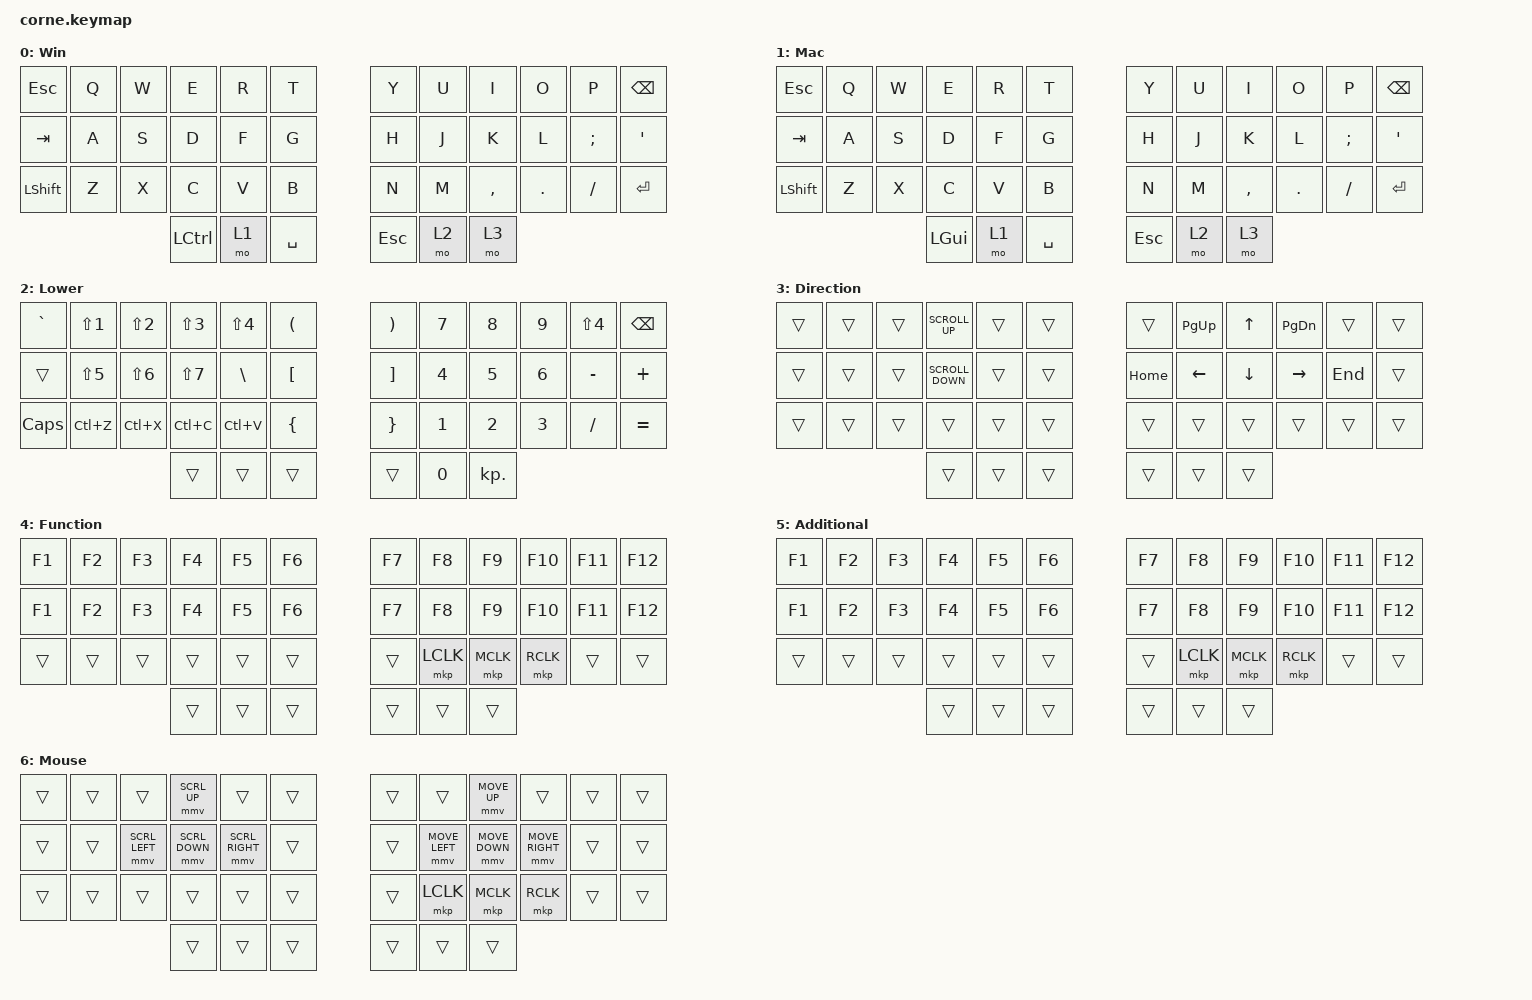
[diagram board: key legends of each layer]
/*
 * Copyright (c) 2020 The ZMK Contributors
 *
 * SPDX-License-Identifier: MIT
 */

#include <behaviors.dtsi>
#include <dt-bindings/zmk/keys.h>
#include <dt-bindings/zmk/bt.h>
#include <dt-bindings/zmk/mouse.h>


/ {
        keymap {
                compatible = "zmk,keymap";

                default_layer {
                        display-name = "Win";
                        bindings = <
   &kp ESC   &kp Q &kp W &kp E &kp R &kp T   &kp Y &kp U  &kp I     &kp O   &kp P    &kp BSPC
   &kp TAB   &kp A &kp S &kp D &kp F &kp G   &kp H &kp J  &kp K     &kp L   &kp SEMI &kp SQT
   &kp LSHFT &kp Z &kp X &kp C &kp V &kp B   &kp N &kp M  &kp COMMA &kp DOT &kp FSLH &kp RET
                  &kp LCTRL &mo 1 &kp SPACE   &kp ESC  &mo 2 &mo 3
                        >;
                };

                mac_layer {
                        display-name = "Mac";
                        bindings = <
   &kp ESC   &kp Q &kp W &kp E &kp R &kp T   &kp Y &kp U  &kp I     &kp O   &kp P    &kp BSPC
   &kp TAB   &kp A &kp S &kp D &kp F &kp G   &kp H &kp J  &kp K     &kp L   &kp SEMI &kp SQT
   &kp LSHFT &kp Z &kp X &kp C &kp V &kp B   &kp N &kp M  &kp COMMA &kp DOT &kp FSLH &kp RET
                  &kp LGUI &mo 1 &kp SPACE   &kp ESC  &mo 2 &mo 3
                        >;
                };

                lower_layer {
                        display-name = "Lower";
                        bindings = <
   &kp GRAVE  &kp LS(N1)  &kp LS(N2)  &kp LS(N3)  &kp LS(N4)  &kp LPAR       &kp RPAR   &kp N7  &kp N8  &kp N9 &kp LS(N4) &kp BSPC 
   &trans     &kp LS(N5)  &kp LS(N6)  &kp LS(N7)  &kp BSLH    &kp LBKT       &kp RBKT   &kp N4  &kp N5  &kp N6 &kp MINUS  &kp PLUS 
   &kp CAPS   &kp LC(Z)   &kp LC(X)   &kp LC(C)   &kp LC(V)   &kp LBRC       &kp RBRC   &kp N1  &kp N2  &kp N3 &kp SLASH  &kp EQUAL
                                    &trans     &trans      &trans         &trans     &kp N0  &kp KP_DOT
                        >;
                };

                raise_layer {
                        display-name = "Direction";
                        bindings = <
   &trans  &trans  &trans &kp K_SCROLL_UP   &trans  &trans       &trans    &kp PG_UP  &kp UP   &kp PG_DN &trans  &trans
   &trans  &trans  &trans &kp K_SCROLL_DOWN &trans  &trans       &kp HOME  &kp LEFT   &kp DOWN &kp RIGHT &kp END &trans
   &trans  &trans  &trans &trans            &trans  &trans       &trans    &trans     &trans   &trans    &trans  &trans 
                          &trans            &trans  &trans       &trans    &trans     &trans
                        >;
                };

                function_layer {
                        display-name = "Function";
                        bindings = <
   &kp F1  &kp F2  &kp F3 &kp F4 &kp F5 &kp F6 &kp F7  &kp F8 &kp F9 &kp F10 &kp F11 &kp F12
   &kp F1  &kp F2  &kp F3 &kp F4 &kp F5 &kp F6 &kp F7  &kp F8 &kp F9 &kp F10 &kp F11 &kp F12
   &trans  &trans  &trans         &trans          &trans           &trans           &trans  &mkp LCLK       &mkp MCLK      &mkp RCLK        &trans  &trans
                                  &trans          &trans           &trans           &trans  &trans          &trans
                        >;
                };


                additional_layer {
                        display-name = "Additional";
                        bindings = <
   &kp F1  &kp F2  &kp F3 &kp F4 &kp F5 &kp F6 &kp F7  &kp F8 &kp F9 &kp F10 &kp F11 &kp F12
   &kp F1  &kp F2  &kp F3 &kp F4 &kp F5 &kp F6 &kp F7  &kp F8 &kp F9 &kp F10 &kp F11 &kp F12
   &trans  &trans  &trans         &trans          &trans           &trans           &trans  &mkp LCLK       &mkp MCLK      &mkp RCLK        &trans  &trans
                                  &trans          &trans           &trans           &trans  &trans          &trans
                        >;
                };

                upper_layer {
                        display-name = "Mouse";
                        bindings = <
   &trans  &trans  &trans         &mmv SCRL_UP    &trans           &trans           &trans  &trans          &mmv MOVE_UP   &trans           &trans  &trans
   &trans  &trans  &mmv SCRL_LEFT &mmv SCRL_DOWN  &mmv SCRL_RIGHT  &trans           &trans  &mmv MOVE_LEFT  &mmv MOVE_DOWN &mmv MOVE_RIGHT  &trans  &trans
   &trans  &trans  &trans         &trans          &trans           &trans           &trans  &mkp LCLK       &mkp MCLK      &mkp RCLK        &trans  &trans
                                  &trans          &trans           &trans           &trans  &trans          &trans
                        >;
                };

        };
};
